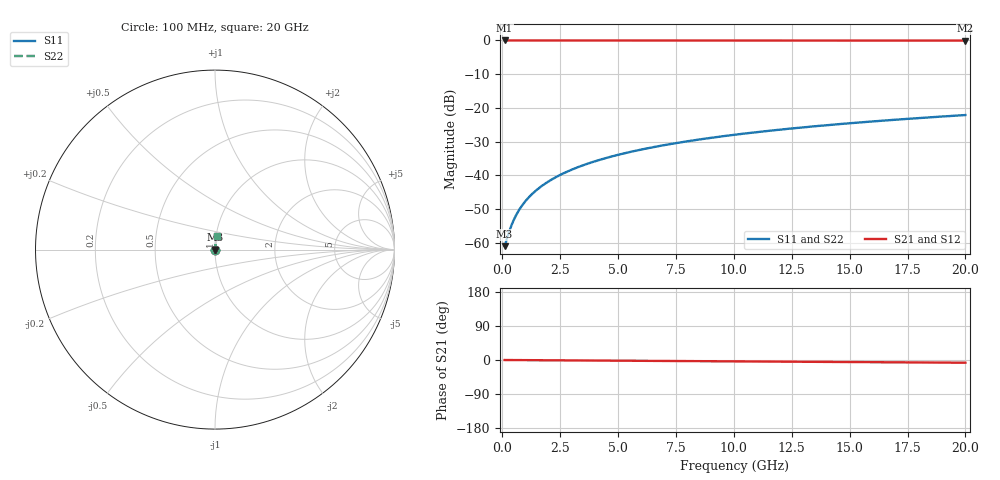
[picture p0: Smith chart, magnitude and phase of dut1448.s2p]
! Touchstone file exported from HFSS 2026.1.0
!  File:  C:/ffzhzh/LocalFiles/Ansys_Project_Files/temp_train_TSV_1448_1783197824_51560.aedt
!  Generated:  04:46:17 AM Jul  5, 2026
!  Design:  TSV
!  Project:  temp_train_TSV_1448_1783197824_51560
! Variables:
!  h_bsmrdl = 2um
!  h_ox = 20um
!  h_rdl = 5um
!  h_sub = 51.4um
!  h_tmrdl = 5um
!  h_tsv = 51.4um
!  h_via = 3um
!  l_bsmrdl = 300um
!  l_sub = 405.58um
!  l_tmrdl = 200um
!  m_sub = 200um
!  pitch = 36.87um
!  r_tsv = 2.79um
!  s_tmrdl = 10um
!  w_bsmrdl = 18um
!  w_sub = 500um
!  w_tmrdl = 12um
!  x_tsv_center1 = 206um
!  x_tsv_center2 = 524um
!  x_tsv_center3 = 736um
!  x_tsv_center4 = 1054um
!  x_tsv_center5 = 1266um
!  x_tsv_center6 = 1584um
# GHz S MA R 50.000000
! Terminal data exported
! Port[1] = TSV1_1_T1
! Port[2] = TSV1_1_T2
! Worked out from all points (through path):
!   200 points, 100 MHz to 20 GHz, reference 50 ohm
!   highest |S21| = -0.01 dB at 100 MHz (marker M1); lowest = 0.0 dB at 20 GHz (marker M2)
!   lowest |S11| = -61.0 dB at 100 MHz (marker M3), VSWR 1.00, Z = 50.1 + j0.0415 ohm
!   |S11| at or under -10 dB: start of sweep to end of sweep
!   |S22| runs from -61.0 to -22.1 dB; largest |S21 - S12| = 2e-15
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0.1  0.0008936 27.6  0.9992 -0.0  0.9992 -0.0  0.0008936 27.6
! Gamma 0 0 0 0
! Port Impedance 50 0 50 0
0.3  0.001476 56.9  0.9992 -0.1  0.9992 -0.1  0.001476 56.9
0.4  0.001835 63.6  0.9992 -0.1  0.9992 -0.1  0.001835 63.6
0.5  0.002208 68.1  0.9992 -0.2  0.9992 -0.2  0.002208 68.1
0.6  0.00259 71.2  0.9992 -0.2  0.9992 -0.2  0.00259 71.2
0.7  0.002978 73.6  0.9992 -0.3  0.9992 -0.3  0.002978 73.6
0.9  0.003761 76.8  0.9992 -0.3  0.9992 -0.3  0.003761 76.8
1.2  0.004951 79.7  0.9991 -0.4  0.9991 -0.4  0.004951 79.7
1.4  0.005748 80.9  0.9991 -0.5  0.9991 -0.5  0.005748 80.9
1.7  0.006949 82.2  0.9991 -0.6  0.9991 -0.6  0.006949 82.2
2.2  0.008955 83.5  0.9991 -0.8  0.9991 -0.8  0.008955 83.5
2.8  0.01137 84.3  0.999 -1.0  0.999 -1.0  0.01137 84.3
3.5  0.01417 84.8  0.9989 -1.3  0.9989 -1.3  0.01417 84.8
4.2  0.01698 85.0  0.9988 -1.5  0.9988 -1.5  0.01698 85.0
5  0.02017 85.0  0.9987 -1.8  0.9987 -1.8  0.02017 85.0
5.9  0.02376 85.0  0.9985 -2.2  0.9985 -2.2  0.02376 85.0
6.8  0.02732 84.8  0.9983 -2.5  0.9983 -2.5  0.02732 84.8
8.3  0.03323 84.5  0.998 -3.0  0.998 -3.0  0.03323 84.5
10.1  0.04028 84.0  0.9976 -3.7  0.9976 -3.7  0.04028 84.0
13.4  0.05309 83.1  0.9967 -4.8  0.9967 -4.8  0.05309 83.1
16.7  0.06578 82.1  0.9957 -6.0  0.9957 -6.0  0.06578 82.1
20  0.07839 81.1  0.9945 -7.2  0.9945 -7.2  0.07839 81.1
